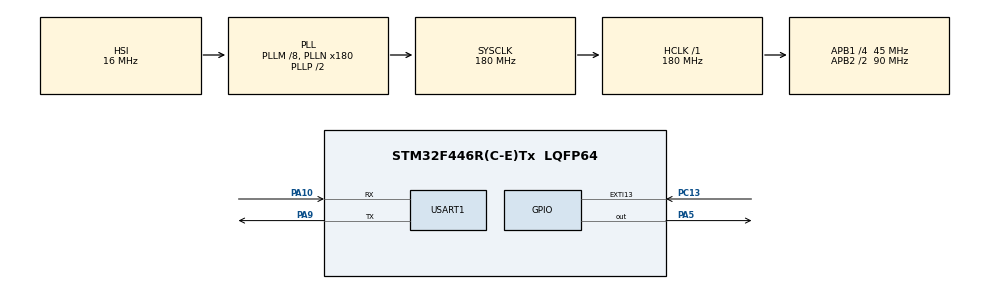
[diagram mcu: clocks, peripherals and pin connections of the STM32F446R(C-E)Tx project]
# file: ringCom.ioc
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Dma.Request0=USART1_RX
Dma.Request1=USART1_TX
Dma.USART1_RX.0.Direction=DMA_PERIPH_TO_MEMORY
Dma.USART1_RX.0.FIFOMode=DMA_FIFOMODE_DISABLE
Dma.USART1_RX.0.Instance=DMA2_Stream2
Dma.USART1_RX.0.MemDataAlignment=DMA_MDATAALIGN_BYTE
Dma.USART1_RX.0.MemInc=DMA_MINC_ENABLE
Dma.USART1_RX.0.Mode=DMA_NORMAL
Dma.USART1_RX.0.PeriphDataAlignment=DMA_PDATAALIGN_BYTE
Dma.USART1_RX.0.PeriphInc=DMA_PINC_DISABLE
Dma.USART1_RX.0.Priority=DMA_PRIORITY_LOW
Dma.USART1_TX.1.Direction=DMA_MEMORY_TO_PERIPH
Dma.USART1_TX.1.FIFOMode=DMA_FIFOMODE_DISABLE
Dma.USART1_TX.1.Instance=DMA2_Stream7
Dma.USART1_TX.1.MemDataAlignment=DMA_MDATAALIGN_BYTE
Dma.USART1_TX.1.MemInc=DMA_MINC_ENABLE
Dma.USART1_TX.1.Mode=DMA_NORMAL
Dma.USART1_TX.1.PeriphDataAlignment=DMA_PDATAALIGN_BYTE
Dma.USART1_TX.1.PeriphInc=DMA_PINC_DISABLE
Dma.USART1_TX.1.Priority=DMA_PRIORITY_LOW
Mcu.Family=STM32F4
Mcu.Name=STM32F446R(C-E)Tx
Mcu.Package=LQFP64
NVIC.DMA2_Stream2_IRQn=true\:0\:0\:false\:false\:true\:false\:true\:true
NVIC.DMA2_Stream7_IRQn=true\:0\:0\:false\:false\:true\:false\:true\:true
NVIC.EXTI15_10_IRQn=true\:0\:0\:false\:false\:true\:true\:true\:true
NVIC.PriorityGroup=NVIC_PRIORITYGROUP_4
NVIC.USART1_IRQn=true\:0\:0\:false\:false\:true\:true\:true\:true
PA10.Mode=Asynchronous
PA10.Signal=USART1_RX
PA13.Mode=Serial_Wire
PA13.Signal=SYS_JTMS-SWDIO
PA14.Mode=Serial_Wire
PA14.Signal=SYS_JTCK-SWCLK
PA5.Signal=GPIO_Output
PA9.Mode=Asynchronous
PA9.Signal=USART1_TX
PC13.Signal=GPXTI13
PH0-OSC_IN.Mode=HSE-External-Oscillator
PH0-OSC_IN.Signal=RCC_OSC_IN
PH1-OSC_OUT.Mode=HSE-External-Oscillator
PH1-OSC_OUT.Signal=RCC_OSC_OUT
ProjectManager.HeapSize=0x200
ProjectManager.StackSize=0x400
ProjectManager.TargetToolchain=STM32CubeIDE
RCC.AHBFreq_Value=180000000
RCC.APB1CLKDivider=RCC_HCLK_DIV4
RCC.APB1Freq_Value=45000000
RCC.APB1TimFreq_Value=90000000
RCC.APB2CLKDivider=RCC_HCLK_DIV2
RCC.APB2Freq_Value=90000000
RCC.APB2TimFreq_Value=180000000
RCC.CortexFreq_Value=180000000
RCC.HCLKFreq_Value=180000000
RCC.HSE_VALUE=8000000
RCC.PLLM=8
RCC.PLLN=180
RCC.SYSCLKFreq_VALUE=180000000
RCC.SYSCLKSource=RCC_SYSCLKSOURCE_PLLCLK
RCC.USBFreq_Value=180000000
RCC.VCOOutputFreq_Value=360000000
USART1.VirtualMode=VM_ASYNC
board=custom

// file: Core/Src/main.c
/* USER CODE BEGIN Header */
/**
  ******************************************************************************
  * @file           : main.c
  * @brief          : Main program body
  ******************************************************************************
  * @attention
  *
  * Copyright (c) 2024 STMicroelectronics.
  * All rights reserved.
  *
  * This software is licensed under terms that can be found in the LICENSE file
  * in the root directory of this software component.
  * If no LICENSE file comes with this software, it is provided AS-IS.
  *
  ******************************************************************************
  */
/* USER CODE END Header */
#include "main.h"

/* USER CODE BEGIN Includes */
#include "ringBuffer.h"
/* USER CODE END Includes */

/* USER CODE BEGIN PM */
uint8_t veri = 0;
Ring_Buffer_t ring;
char copyBuffer[100];
char patternBuffer[100];

/* USER CODE END PM */

UART_HandleTypeDef huart1;
DMA_HandleTypeDef hdma_usart1_rx;
DMA_HandleTypeDef hdma_usart1_tx;

void SystemClock_Config(void);
static void MX_GPIO_Init(void);
static void MX_DMA_Init(void);
static void MX_USART1_UART_Init(void);

/* USER CODE BEGIN 0 */
void HAL_UART_RxCpltCallback(UART_HandleTypeDef *huart)
{
	if(huart->Instance == USART1) {
		HAL_UART_Receive_DMA(&huart1, &veri, 1);
		writeBufferData(&ring, veri);
	}
}
/* USER CODE END 0 */

int main(void)
{

  /* MCU Configuration--------------------------------------------------------*/

  /* Reset of all peripherals, Initializes the Flash interface and the Systick. */
  HAL_Init();

  /* Configure the system clock */
  SystemClock_Config();

  /* Initialize all configured peripherals */
  MX_GPIO_Init();
  MX_DMA_Init();
  MX_USART1_UART_Init();
  /* USER CODE BEGIN 2 */
  resetBuffer(&ring);
  /* USER CODE END 2 */

  /* Infinite loop */
  while (1)
  {

    /* USER CODE BEGIN 3 */
	  if(findDataInBuffer(&ring, "OK")) {  // burada islemler yapabilirsiniz OK mesajı gelince baska fonksyona gecme gibi
		  HAL_GPIO_WritePin(GPIOA, GPIO_PIN_5, GPIO_PIN_SET);
		  writeBufferData(&ring, 'W');
	  }
	  if(findDataInBuffer(&ring, "ERROR")) {
		  HAL_GPIO_WritePin(GPIOA, GPIO_PIN_5, GPIO_PIN_RESET);
	  }
  }
  /* USER CODE END 3 */
}

void SystemClock_Config(void)
{
  RCC_OscInitTypeDef RCC_OscInitStruct = {0};
  RCC_ClkInitTypeDef RCC_ClkInitStruct = {0};

  /** Configure the main internal regulator output voltage
  */
  __HAL_RCC_PWR_CLK_ENABLE();
  __HAL_PWR_VOLTAGESCALING_CONFIG(PWR_REGULATOR_VOLTAGE_SCALE1);

  /** Initializes the RCC Oscillators according to the specified parameters
  * in the RCC_OscInitTypeDef structure.
  */
  RCC_OscInitStruct.OscillatorType = RCC_OSCILLATORTYPE_HSI;
  RCC_OscInitStruct.HSIState = RCC_HSI_ON;
  RCC_OscInitStruct.HSICalibrationValue = RCC_HSICALIBRATION_DEFAULT;
  RCC_OscInitStruct.PLL.PLLState = RCC_PLL_ON;
  RCC_OscInitStruct.PLL.PLLSource = RCC_PLLSOURCE_HSI;
  RCC_OscInitStruct.PLL.PLLM = 8;
  RCC_OscInitStruct.PLL.PLLN = 180;
  RCC_OscInitStruct.PLL.PLLP = RCC_PLLP_DIV2;
  RCC_OscInitStruct.PLL.PLLQ = 2;
  RCC_OscInitStruct.PLL.PLLR = 2;
  if (HAL_RCC_OscConfig(&RCC_OscInitStruct) != HAL_OK)
  {
    Error_Handler();
  }

  /** Activate the Over-Drive mode
  */
  if (HAL_PWREx_EnableOverDrive() != HAL_OK)
  {
    Error_Handler();
  }

  /** Initializes the CPU, AHB and APB buses clocks
  */
  RCC_ClkInitStruct.ClockType = RCC_CLOCKTYPE_HCLK|RCC_CLOCKTYPE_SYSCLK
                              |RCC_CLOCKTYPE_PCLK1|RCC_CLOCKTYPE_PCLK2;
  RCC_ClkInitStruct.SYSCLKSource = RCC_SYSCLKSOURCE_PLLCLK;
  RCC_ClkInitStruct.AHBCLKDivider = RCC_SYSCLK_DIV1;
  RCC_ClkInitStruct.APB1CLKDivider = RCC_HCLK_DIV4;
  RCC_ClkInitStruct.APB2CLKDivider = RCC_HCLK_DIV2;

  if (HAL_RCC_ClockConfig(&RCC_ClkInitStruct, FLASH_LATENCY_5) != HAL_OK)
  {
    Error_Handler();
  }
}

static void MX_USART1_UART_Init(void)
{

  huart1.Instance = USART1;
  huart1.Init.BaudRate = 115200;
  huart1.Init.WordLength = UART_WORDLENGTH_8B;
  huart1.Init.StopBits = UART_STOPBITS_1;
  huart1.Init.Parity = UART_PARITY_NONE;
  huart1.Init.Mode = UART_MODE_TX_RX;
  huart1.Init.HwFlowCtl = UART_HWCONTROL_NONE;
  huart1.Init.OverSampling = UART_OVERSAMPLING_16;
  if (HAL_UART_Init(&huart1) != HAL_OK)
  {
    Error_Handler();
  }
  /* USER CODE BEGIN USART1_Init 2 */
  HAL_UART_Receive_DMA(&huart1, &veri, 1);
  /* USER CODE END USART1_Init 2 */

}

static void MX_DMA_Init(void)
{

  /* DMA controller clock enable */
  __HAL_RCC_DMA2_CLK_ENABLE();

  /* DMA interrupt init */
  /* DMA2_Stream2_IRQn interrupt configuration */
  HAL_NVIC_SetPriority(DMA2_Stream2_IRQn, 0, 0);
  HAL_NVIC_EnableIRQ(DMA2_Stream2_IRQn);
  /* DMA2_Stream7_IRQn interrupt configuration */
  HAL_NVIC_SetPriority(DMA2_Stream7_IRQn, 0, 0);
  HAL_NVIC_EnableIRQ(DMA2_Stream7_IRQn);

}

static void MX_GPIO_Init(void)
{
  GPIO_InitTypeDef GPIO_InitStruct = {0};

  /* GPIO Ports Clock Enable */
  __HAL_RCC_GPIOC_CLK_ENABLE();
  __HAL_RCC_GPIOH_CLK_ENABLE();
  __HAL_RCC_GPIOA_CLK_ENABLE();

  /*Configure GPIO pin Output Level */
  HAL_GPIO_WritePin(GPIOA, GPIO_PIN_5, GPIO_PIN_RESET);

  /*Configure GPIO pin : PC13 */
  GPIO_InitStruct.Pin = GPIO_PIN_13;
  GPIO_InitStruct.Mode = GPIO_MODE_IT_RISING;
  GPIO_InitStruct.Pull = GPIO_NOPULL;
  HAL_GPIO_Init(GPIOC, &GPIO_InitStruct);

  /*Configure GPIO pin : PA5 */
  GPIO_InitStruct.Pin = GPIO_PIN_5;
  GPIO_InitStruct.Mode = GPIO_MODE_OUTPUT_PP;
  GPIO_InitStruct.Pull = GPIO_NOPULL;
  GPIO_InitStruct.Speed = GPIO_SPEED_FREQ_LOW;
  HAL_GPIO_Init(GPIOA, &GPIO_InitStruct);

  /* EXTI interrupt init*/
  HAL_NVIC_SetPriority(EXTI15_10_IRQn, 0, 0);
  HAL_NVIC_EnableIRQ(EXTI15_10_IRQn);

}

/* USER CODE BEGIN 4 */
void HAL_GPIO_EXTI_Callback(uint16_t GPIO_Pin)
{
	if(GPIO_Pin== GPIO_PIN_13) {
		  copyBufferData(&ring, copyBuffer, 100, "DATA1");
		  copyAfterPattern(&ring, patternBuffer, "DATA2", '\n',100);

	}

}
/* USER CODE END 4 */

void Error_Handler(void)
{
  __disable_irq();
  while (1)
  {
  }
}
